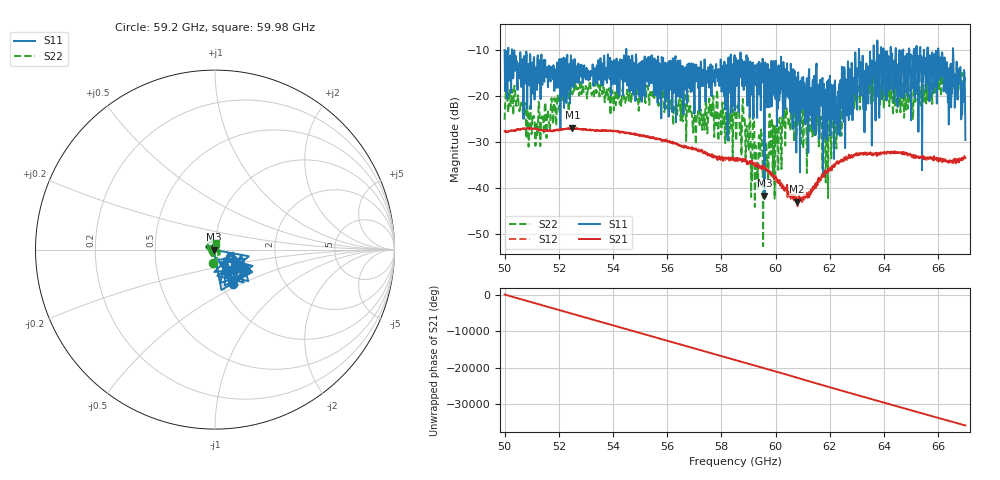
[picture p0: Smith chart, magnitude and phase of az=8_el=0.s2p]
!Created with skrf (http://scikit-rf.org).
# GHz S RI R 50.0
!freq ReS11 ImS11 ReS21 ImS21 ReS12 ImS12 ReS22 ImS22
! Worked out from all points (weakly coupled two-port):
!   1001 points, 50 GHz to 67 GHz, reference 50 ohm
!   highest |S21| = -26.88 dB at 52.5 GHz (marker M1); lowest = -43.0 dB at 60.8 GHz (marker M2)
!   lowest |S11| = -41.7 dB at 59.59 GHz (marker M3), VSWR 1.02, Z = 49.2 - j0.104 ohm
!   |S11| at or under -10 dB: 50.27 GHz to 54.49 GHz (4.215 GHz wide, 8.05 % of centre); 54.49 GHz to 63.07 GHz (8.583 GHz wide, 14.6 % of centre); 63.07 GHz to 63.61 GHz (539.2 MHz wide, 0.851 % of centre) (the widest 3 of 21)
!   |S22| runs from -52.7 to -13.9 dB; largest |S21 - S12| = 0.0021
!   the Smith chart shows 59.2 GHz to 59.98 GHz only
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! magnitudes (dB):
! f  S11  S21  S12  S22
! 50 GHz  -10.0  -27.6  -27.7  -25.2
! 50.42 GHz  -13.8  -27.5  -27.4  -22.0
! 51.14 GHz  -13.8  -27.1  -27.2  -30.8
! 52.5 GHz  -17.9  -26.9  -26.9  -19.7
! 52.84 GHz  -14.0  -27.2  -27.2  -19.6
! 55.68 GHz  -13.2  -29.4  -29.3  -22.2
! 57 GHz  -23.8  -31.5  -31.6  -21.8
! 57.62 GHz  -15.5  -32.9  -33.3  -21.8
! 58.5 GHz  -23.1  -34.0  -33.9  -24.0
! 59.59 GHz  -41.7  -35.9  -35.7  -30.4
! 59.84 GHz  -12.3  -36.6  -37.4  -25.7
! 60.03 GHz  -14.8  -37.9  -38.7  -30.7
! 60.34 GHz  -14.0  -39.9  -40.6  -25.3
! 60.8 GHz  -16.8  -43.0  -42.5  -26.4
! 61.34 GHz  -26.5  -40.9  -40.2  -26.3
! 61.92 GHz  -18.0  -36.7  -36.7  -26.3
! 62.53 GHz  -13.7  -33.5  -33.4  -19.3
! 64.18 GHz  -18.8  -32.3  -32.3  -18.6
! 66.08 GHz  -15.6  -34.0  -34.1  -15.8
! 66.42 GHz  -15.5  -34.2  -34.3  -16.2
! 66.75 GHz  -17.3  -33.8  -33.9  -18.6
! 67 GHz  -29.6  -33.5  -33.2  -15.8
